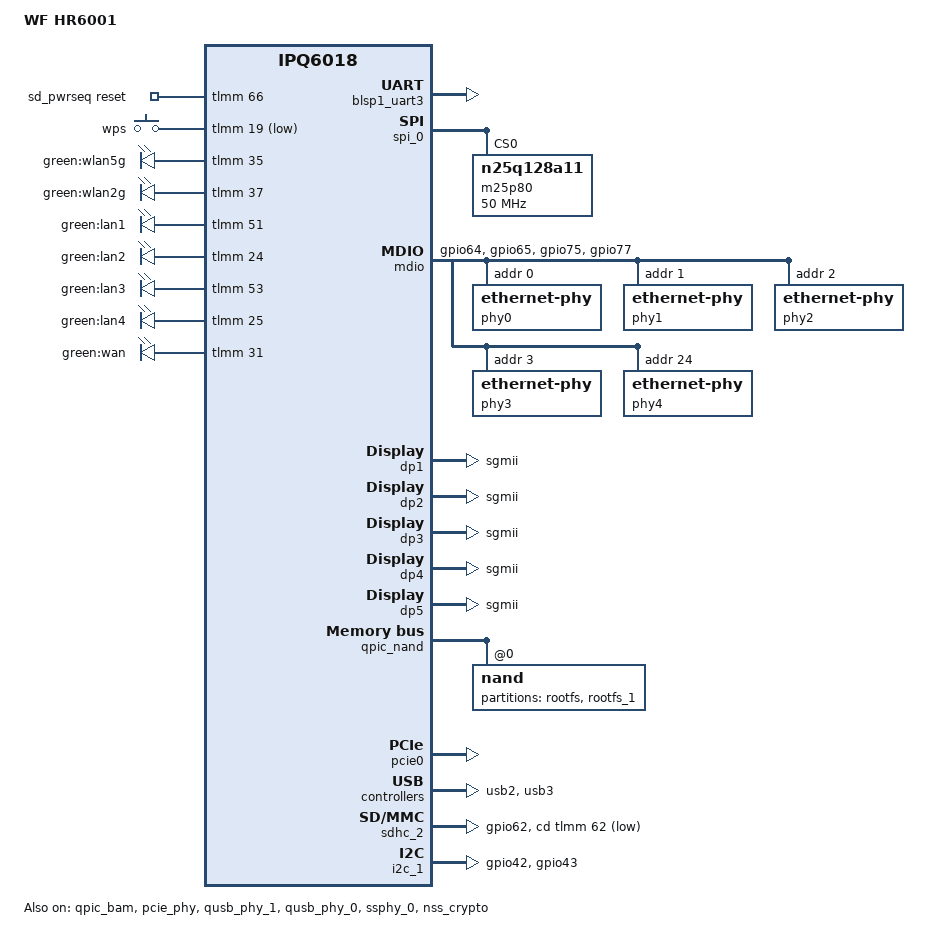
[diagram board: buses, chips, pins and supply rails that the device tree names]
// SPDX-License-Identifier: (GPL-2.0+ OR BSD-3-Clause)
/*
 * IPQ6018 CP01 board device tree source
 *
 * Copyright (c) 2019-2021 The Linux Foundation. All rights reserved.
 */

/dts-v1/;

#include "ipq6018.dtsi"
#include "ipq6018-cp-cpu.dtsi"

/ {
	model = "WF HR6001";
	compatible = "qcom,ap-cp01-c3", "qcom,ipq6018";

	aliases {
		led-boot = &power;
		led-failsafe = &power;
		led-running = &power;
		led-upgrade = &power;
		serial0 = &blsp1_uart3;
		/*
		 * Aliases as required by u-boot
		 * to patch MAC addresses
		 */
		ethernet0 = "/soc/dp1";
		ethernet1 = "/soc/dp2";
		ethernet2 = "/soc/dp3";
		ethernet3 = "/soc/dp4";
		ethernet4 = "/soc/dp5";
	};

	chosen {
		stdout-path = "serial0:115200n8";
		bootargs-append = " ubi.mtd=rootfs root=/dev/ubiblock0_1 swiotlb=1";
	};
};

&blsp1_uart3 {
	pinctrl-0 = <&serial_3_pins>;
	pinctrl-names = "default";
	status = "ok";
};

&spi_0 {
	cs-select = <0>;
	status = "ok";

	m25p80@0 {
		#address-cells = <1>;
		#size-cells = <1>;
		reg = <0>;
		compatible = "n25q128a11";
		spi-max-frequency = <50000000>;

		SBL1@0 {
			label = "0:SBL1";
			reg = <0x0 0xc0000>;
			read-only;
		};

		MIBIB@c0000 {
			label = "0:MIBIB";
			reg = <0xc0000 0x10000>;
		};

		BOOTCONFIG@d0000 {
			label = "0:BOOTCONFIG";
			reg = <0xd0000 0x20000>;
			read-only;
		};

		BOOTCONFIG1@f0000 {
			label = "0:BOOTCONFIG1";
			reg = <0xf0000 0x20000>;
			read-only;
		};

		QSEE@110000 {
			label = "0:QSEE";
			reg = <0x110000 0x1a0000>;
			read-only;
		};

		QSEE_1@2b0000 {
			label = "0:QSEE_1";
			reg = <0x2b0000 0x1a0000>;
			read-only;
		};

		DEVCFG@450000 {
			label = "0:DEVCFG";
			reg = <0x450000 0x10000>;
			read-only;
		};

		DEVCFG_1@460000 {
			label = "0:DEVCFG_1";
			reg = <0x460000 0x10000>;
			read-only;
		};

		RPM@470000 {
			label = "0:RPM";
			reg = <0x4700000 0x40000>;
		};

		RPM_1@4b0000 {
			label = "0:RPM_1";
			reg = <0x4b0000 0x40000>;
			read-only;
		};

		CDT@4f0000 {
			label = "0:CDT";
			reg = <0x4f0000 0x10000>;
		};

		CDT_1@500000 {
			label = "0:CDT_1";
			reg = <0x500000 0x10000>;
		};

		APPSBLENV@510000 {
			label = "0:APPSBLENV";
			reg = <0x510000 0x10000>;
		};

		APPSBL@520000 {
			label = "0:APPSBL";
			reg = <0x520000 0xa0000>;
		};

		APPSBL_1@5c0000 {
			label = "0:APPSBL_1";
			reg = <0x5c0000 0xa0000>;
		};

		ART: ART@660000 {
			label = "0:ART";
			reg = <0x660000 0x40000>;
		};
	};
};

&tlmm {
	spi_0_pins: spi-0-pins {
		pins = "gpio38", "gpio39", "gpio40", "gpio41";
		function = "blsp0_spi";
		drive-strength = <8>;
		bias-pull-down;
	};

	sd_pins: sd-pinmux {
		pins = "gpio62";
		function = "sd_card";
		drive-strength = <8>;
		bias-pull-up;
	};

	i2c_1_pins: i2c_1_pins {
		mux {
			pins = "gpio42", "gpio43";
			function = "blsp2_i2c";
			drive-strength = <8>;
			bias-pull-down;
		};
	};

	mdio_pins: mdio_pinmux {
		mux_0 {
			pins = "gpio64";
			function = "mdc";
			drive-strength = <8>;
			bias-pull-up;
		};
		mux_1 {
			pins = "gpio65";
			function = "mdio";
			drive-strength = <8>;
			bias-pull-up;
		};
		mux_2 {
			pins = "gpio75";
			function = "gpio";
			bias-pull-up;
		};
		mux_3 {
			pins = "gpio77";
			function = "gpio";
			bias-pull-up;
		};
	};

	button_pins: button_pins {
		reset_button {
			pins = "gpio19";
			function = "gpio";
			drive-strength = <8>;
			bias-pull-up;
		};
	};

	led_pins: leds_pins {

		wlan5g {
			pins = "gpio35";
			function = "gpio";
			drive-strength = <8>;
			bias-pull-down;
		};

		wlan2g {
			pins = "gpio37";
			function = "gpio";
			drive-strength = <8>;
			bias-pull-down;
		};

		lan1 {
			pins = "gpio51";
			function = "gpio";
			drive-strength = <8>;
			bias-pull-down;
		};

		lan2 {
			pins = "gpio24";
			function = "gpio";
			drive-strength = <8>;
			bias-pull-down;
		};

		lan3 {
			pins = "gpio53";
			function = "gpio";
			drive-strength = <8>;
			bias-pull-down;
		};

		lan4 {
			pins = "gpio25";
			function = "gpio";
			drive-strength = <8>;
			bias-pull-down;
		};

		wan {
			pins = "gpio9";
			function = "gpio";
			drive-strength = <8>;
			bias-pull-down;
		};
	};
};

&soc {
	mdio: mdio@90000 {
		pinctrl-0 = <&mdio_pins>;
		pinctrl-names = "default";
		phy-reset-gpio = <&tlmm 75 0 &tlmm 77 1>;
		status = "ok";
		phy0: ethernet-phy@0 {
			reg = <0>;
		};
		phy1: ethernet-phy@1 {
			reg = <1>;
		};
		phy2: ethernet-phy@2 {
			reg = <2>;
		};
		phy3: ethernet-phy@3 {
			reg = <3>;
		};
		phy4: ethernet-phy@4 {
			reg = <0x18>;
		};
	};

	dp1 {
		device_type = "network";
		compatible = "qcom,nss-dp";
		qcom,id = <1>;
		reg = <0x3a001000 0x200>;
		qcom,mactype = <0>;
		local-mac-address = [000000000000];
		qcom,link-poll = <1>;
		qcom,phy-mdio-addr = <0>;
		phy-mode = "sgmii";
	};

	dp2 {
		device_type = "network";
		compatible = "qcom,nss-dp";
		qcom,id = <2>;
		reg = <0x3a001200 0x200>;
		qcom,mactype = <0>;
		local-mac-address = [000000000000];
		qcom,link-poll = <1>;
		qcom,phy-mdio-addr = <1>;
		phy-mode = "sgmii";
	};

	dp3 {
		device_type = "network";
		compatible = "qcom,nss-dp";
		qcom,id = <3>;
		reg = <0x3a001400 0x200>;
		qcom,mactype = <0>;
		local-mac-address = [000000000000];
		qcom,link-poll = <1>;
		qcom,phy-mdio-addr = <2>;
		phy-mode = "sgmii";
	};

	dp4 {
		device_type = "network";
		compatible = "qcom,nss-dp";
		qcom,id = <4>;
		reg = <0x3a001600 0x200>;
		qcom,mactype = <0>;
		local-mac-address = [000000000000];
		qcom,link-poll = <1>;
		qcom,phy-mdio-addr = <3>;
		phy-mode = "sgmii";
	};

	dp5 {
		device_type = "network";
		compatible = "qcom,nss-dp";
		qcom,id = <5>;
		reg = <0x3a001800 0x200>;
		qcom,mactype = <0>;
		local-mac-address = [000000000000];
		qcom,link-poll = <1>;
		qcom,phy-mdio-addr = <24>;
		phy-mode = "sgmii";
	};

	ess-switch@3a000000 {
		switch_cpu_bmp = <0x1>;  /* cpu port bitmap */
		switch_lan_bmp = <0x1e>; /* lan port bitmap */
		switch_wan_bmp = <0x20>; /* wan port bitmap */
		switch_inner_bmp = <0xc0>; /*inner port bitmap*/
		switch_mac_mode = <0x0>; /* mac mode for uniphy instance0*/
		switch_mac_mode1 = <0xf>; /* mac mode for uniphy instance1*/
		switch_mac_mode2 = <0xff>; /* mac mode for uniphy instance2*/
		qcom,port_phyinfo {
			port@0 {
				port_id = <1>;
				phy_address = <0>;
			};
			port@1 {
				port_id = <2>;
				phy_address = <1>;
			};
			port@2 {
				port_id = <3>;
				phy_address = <2>;
			};
			port@3 {
				port_id = <4>;
				phy_address = <3>;
			};
			port@4 {
				port_id = <5>;
				phy_address = <0x18>;
				port_mac_sel = "QGMAC_PORT";
			};
		};
	};

	nss-macsec0 {
		compatible = "qcom,nss-macsec";
		phy_addr = <0x18>;
		phy_access_mode = <0>;
		mdiobus = <&mdio>;
	};

	sd_pwrseq: sd-pwrseq {
		compatible = "mmc-pwrseq-ipq";
		reset-gpios = <&tlmm 66 GPIO_ACTIVE_HIGH>;
	};

	gpio_keys {
		compatible = "gpio-keys";
		pinctrl-0 = <&button_pins>;
		pinctrl-names = "default";

		button@1 {
			label = "wps";
			linux,code = <KEY_WPS_BUTTON>;
			gpios = <&tlmm 19 GPIO_ACTIVE_LOW>;
			linux,input-type = <1>;
			debounce-interval = <60>;
		};
	};

	leds {
		compatible = "gpio-leds";
		pinctrl-0 = <&led_pins>;
		pinctrl-names = "default";

		led@35 {
			label = "green:wlan5g";
			gpios = <&tlmm 35 GPIO_ACTIVE_HIGH>;
		};

		power: led@37 {
			label = "green:wlan2g";
			gpios = <&tlmm 37 GPIO_ACTIVE_HIGH>;
		};

		led@51 {
			label = "green:lan1";
			gpios = <&tlmm 51 GPIO_ACTIVE_HIGH>;
		};

		led@24 {
			label = "green:lan2";
			gpios = <&tlmm 24 GPIO_ACTIVE_HIGH>;
		};

		led@53 {
			label = "green:lan3";
			gpios = <&tlmm 53 GPIO_ACTIVE_HIGH>;
		};

		led@25 {
			label = "green:lan4";
			gpios = <&tlmm 25 GPIO_ACTIVE_HIGH>;
		};

		led@31 {
			label = "green:wan";
			gpios = <&tlmm 31 GPIO_ACTIVE_HIGH>;
		};
	};
};

&qpic_bam {
	status = "ok";
};

&qpic_nand {
	status = "ok";

	nand@0 {
		reg = <0>;
		#address-cells = <1>;
		#size-cells = <1>;

		nand-ecc-strength = <4>;
		nand-ecc-step-size = <512>;
		nand-bus-width = <8>;

		partition0@ {
			label = "rootfs";
			reg = <0x0 0x3c00000>;
		};

		partition1@0x8000000 {
			label = "rootfs_1";
			reg = <0x3c00000 0x3c00000>;
		};
	};
};

&pcie_phy {
	status = "ok";
};

&pcie0 {
	status = "ok";
};

&qusb_phy_1 {
	status = "ok";
};

&usb2 {
	status = "ok";
};

&sdhc_2 {
	pinctrl-0 = <&sd_pins>;
	pinctrl-names = "default";
	cd-gpios = <&tlmm 62 GPIO_ACTIVE_LOW>;
	status = "ok";
};

&qusb_phy_0 {
	status = "ok";
};

&ssphy_0 {
	status = "ok";
};

&usb3 {
	status = "ok";
};

&nss_crypto {
	status = "ok";
};

&i2c_1 {
	pinctrl-0 = <&i2c_1_pins>;
	pinctrl-names = "default";
	status = "ok";
};

&sdhc_2 {
	pinctrl-0 = <&sd_pins>;
	pinctrl-names = "default";
	mmc-pwrseq = <&sd_pwrseq>;
	cd-gpios = <&tlmm 62 1>;
	sd-ldo-gpios = <&tlmm 66 0>;
	vqmmc-supply = <&ipq6018_l2>;
	status = "ok";
};
